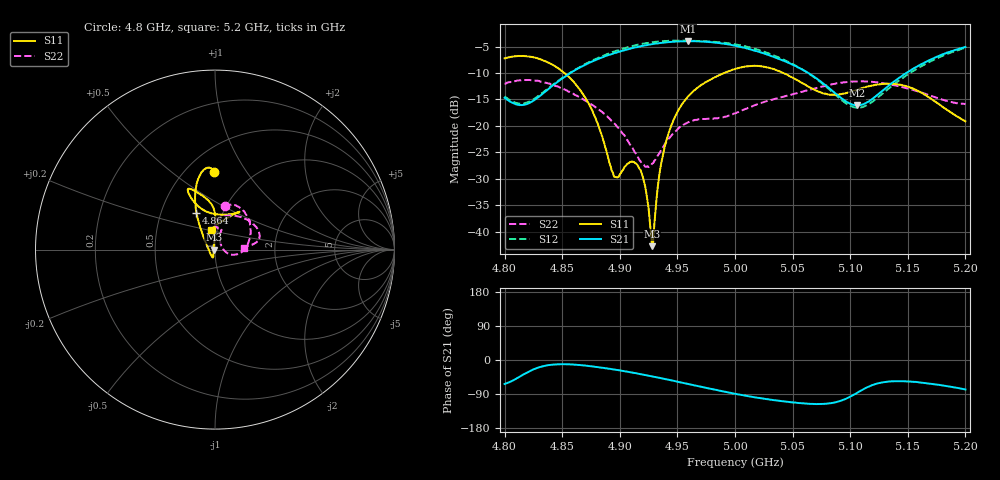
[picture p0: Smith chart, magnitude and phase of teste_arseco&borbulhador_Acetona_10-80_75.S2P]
! Network Analyzer HP8722D
! Hewlett-Packard
! Data name: Linha & Wilkinson
! Saver's name: Rodrigo Anjos
! Comments: Teste da utilização de aquisição
! continua pelo VNA HP8722D
! Time and date: 25/4/2025 15:53
!  Frequency  S11  S21  S12  S22
# HZ  S  MA R 50
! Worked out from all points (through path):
!   401 points, 4.8 GHz to 5.2 GHz, reference 50 ohm
!   highest |S21| = -3.97 dB at 4.959 GHz (marker M1); lowest = -16.1 dB at 5.106 GHz (marker M2)
!   lowest |S11| = -42.7 dB at 4.928 GHz (marker M3), VSWR 1.01, Z = 49.3 - j0.105 ohm
!   |S11| at or under -10 dB: 4.852 GHz to 4.991 GHz (138.7 MHz wide, 2.82 % of centre); 5.042 GHz to end of sweep
!   |S22| runs from -27.8 to -11.3 dB; largest |S21 - S12| = 1.2
!   S11 on the Smith chart (normalised r, x): 4.8 GHz: 0.68, +0.73; 4.864 GHz: 0.75, +0.33; 5.2 GHz: 0.94, +0.21
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4.8e9  0.4343 90.5  0.1846 -63.3  0.1902 69.9  0.2503 77.2
4.82e9  0.4531 96.8  0.1619 -32.2  0.1676 98.8  0.2719 61.6
4.843e9  0.371 106.3  0.2467 -12.0  0.2502 118.9  0.2435 36.5
4.864e9  0.231 116.6  0.3507 -13.0  0.3539 120.9  0.1897 11.8
4.867e9  0.2074 118.4  0.3642 -14.0  0.3689 120.7  0.182 8.4
4.88e9  0.1103 128.5  0.4238 -18.5  0.4336 118.2  0.1475 -5.5
4.895e9  0.03317 -172.8  0.4864 -25.0  0.5036 113.6  0.1063 -15.8
4.91e9  0.04597 -106.6  0.5406 -32.7  0.5658 106.9  0.06419 -13.7
4.917e9  0.0396 -104.0  0.5629 -36.7  0.5911 103.4  0.04772 -0.9
4.922e9  0.02696 -107.6  0.5774 -39.5  0.6039 100.6  0.04117 16.5
4.928e9  0.007319 -171.6  0.5912 -43.2  0.6181 96.9  0.04401 41.7
4.93e9  0.01187 126.6  0.5979 -44.4  0.62 95.6  0.04686 48.6
4.934e9  0.03263 100.5  0.6046 -46.8  0.6296 93.0  0.05448 58.5
4.943e9  0.08961 90.6  0.6203 -52.6  0.6379 87.3  0.07681 69.1
4.959e9  0.1882 89.5  0.6331 -63.1  0.6388 77.2  0.108 71.5
5e9  0.3452 109.0  0.5733 -89.1  0.5912 50.7  0.1315 88.6
5.03e9  0.3532 115.0  0.4639 -104.3  0.4803 33.8  0.1737 85.1
5.067e9  0.2258 105.1  0.3001 -115.8  0.2974 23.6  0.2228 57.0
5.106e9  0.219 64.4  0.1564 -86.7  0.1485 56.3  0.2633 24.7
5.134e9  0.2504 57.1  0.2426 -56.7  0.228 88.7  0.2478 12.3
5.168e9  0.1878 69.1  0.4152 -61.9  0.3975 85.2  0.1956 6.9
5.2e9  0.1106 100.3  0.5578 -77.7  0.5454 70.0  0.161 3.7
